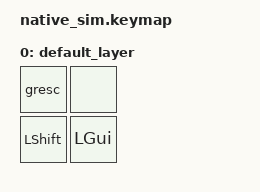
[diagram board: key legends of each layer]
#include <dt-bindings/zmk/keys.h>
#include <behaviors.dtsi>
#include <dt-bindings/zmk/kscan_mock.h>

/ {
    keymap {
        compatible = "zmk,keymap";

        default_layer {
            bindings = <&gresc &none
                        &kp LEFT_SHIFT &kp LEFT_GUI>;
        };
    };
};

&kscan {
    events = <
              /* esc */
              ZMK_MOCK_PRESS(0,0,10)
              ZMK_MOCK_RELEASE(0,0,10)

              /* ~ */
              ZMK_MOCK_PRESS(1,0,10)
              ZMK_MOCK_PRESS(0,0,10)
              ZMK_MOCK_RELEASE(0,0,10)
              ZMK_MOCK_RELEASE(1,0,10)

              /* LGUI+` */
              ZMK_MOCK_PRESS(1,1,10)
              ZMK_MOCK_PRESS(0,0,10)
              ZMK_MOCK_RELEASE(0,0,10)
              ZMK_MOCK_RELEASE(1,1,10)

              /* ~ */
              ZMK_MOCK_PRESS(1,0,10)
              ZMK_MOCK_PRESS(0,0,10)
              ZMK_MOCK_RELEASE(1,0,10)
              ZMK_MOCK_RELEASE(0,0,10)

              /* LGUI+` */
              ZMK_MOCK_PRESS(1,1,10)
              ZMK_MOCK_PRESS(0,0,10)
              ZMK_MOCK_RELEASE(1,1,10)
              ZMK_MOCK_RELEASE(0,0,10)>;
};
